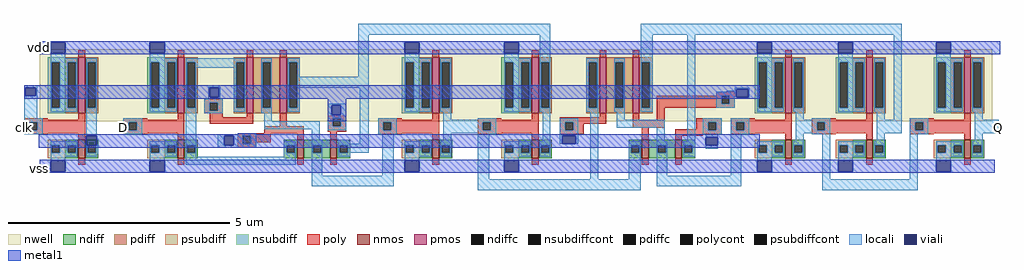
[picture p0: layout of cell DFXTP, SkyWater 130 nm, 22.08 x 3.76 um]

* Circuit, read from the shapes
.subckt DFXTP D clk Q vss vdd
XM1 n1 clk vss vss sky130_fd_pr__nfet_01v8 w=0.42 l=0.15
XM2 n2 D vss vss sky130_fd_pr__nfet_01v8 w=0.42 l=0.15
XM3 n3 n1 n2 vss sky130_fd_pr__nfet_01v8 w=0.42 l=0.15
XM4 n4 clk n3 vss sky130_fd_pr__nfet_01v8 w=0.42 l=0.15
XM5 n5 n3 vss vss sky130_fd_pr__nfet_01v8 w=0.42 l=0.15
XM6 n4 n5 vss vss sky130_fd_pr__nfet_01v8 w=0.42 l=0.15
XM7 n6 clk n5 vss sky130_fd_pr__nfet_01v8 w=0.42 l=0.15
XM8 n7 n1 n6 vss sky130_fd_pr__nfet_01v8 w=0.42 l=0.15
XM9 n8 n6 vss vss sky130_fd_pr__nfet_01v8 w=0.42 l=0.15
XM10 n7 n8 vss vss sky130_fd_pr__nfet_01v8 w=0.42 l=0.15
XM11 Q n8 vss vss sky130_fd_pr__nfet_01v8 w=0.42 l=0.15
XM12 n1 clk vdd vdd sky130_fd_pr__pfet_01v8 w=1.27 l=0.15
XM13 n2 D vdd vdd sky130_fd_pr__pfet_01v8 w=1.27 l=0.15
XM14 n3 clk n2 vdd sky130_fd_pr__pfet_01v8 w=1.27 l=0.15
XM15 n4 n1 n3 vdd sky130_fd_pr__pfet_01v8 w=1.27 l=0.15
XM16 n5 n3 vdd vdd sky130_fd_pr__pfet_01v8 w=1.27 l=0.15
XM17 n4 n5 vdd vdd sky130_fd_pr__pfet_01v8 w=1.27 l=0.15
XM18 n6 n1 n5 vdd sky130_fd_pr__pfet_01v8 w=1.27 l=0.15
XM19 n7 clk n6 vdd sky130_fd_pr__pfet_01v8 w=1.27 l=0.15
XM20 n8 n6 vdd vdd sky130_fd_pr__pfet_01v8 w=1.27 l=0.15
XM21 n7 n8 vdd vdd sky130_fd_pr__pfet_01v8 w=1.27 l=0.15
XM22 Q n8 vdd vdd sky130_fd_pr__pfet_01v8 w=1.27 l=0.15
.ends

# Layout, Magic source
magic
tech sky130A
<< nwell >>
rect -429 102 1725 265
<< nmos >>
rect -342 18 -327 60
rect -117 18 -102 60
rect 153 18 168 60
rect 228 18 243 60
rect 459 18 474 60
rect 684 18 699 60
rect 933 18 948 60
rect 1008 18 1023 60
rect 1257 18 1272 60
rect 1440 18 1455 60
rect 1662 18 1677 60
<< pmos >>
rect -342 120 -327 247
rect -117 120 -102 247
rect 39 120 54 247
rect 114 120 129 247
rect 459 120 474 247
rect 684 120 699 247
rect 837 120 852 247
rect 912 120 927 247
rect 1257 120 1272 247
rect 1440 120 1455 247
rect 1662 120 1677 247
<< ndiff >>
rect -372 48 -342 60
rect -372 30 -366 48
rect -348 30 -342 48
rect -372 18 -342 30
rect -327 48 -297 60
rect -327 30 -321 48
rect -303 30 -297 48
rect -327 18 -297 30
rect -147 48 -117 60
rect -147 30 -141 48
rect -123 30 -117 48
rect -147 18 -117 30
rect -102 48 -72 60
rect -102 30 -96 48
rect -78 30 -72 48
rect 123 48 153 60
rect -102 18 -72 30
rect 123 30 129 48
rect 147 30 153 48
rect 123 18 153 30
rect 168 48 228 60
rect 168 30 189 48
rect 207 30 228 48
rect 168 18 228 30
rect 243 48 273 60
rect 243 30 249 48
rect 267 30 273 48
rect 243 18 273 30
rect 429 48 459 60
rect 429 30 435 48
rect 453 30 459 48
rect 429 18 459 30
rect 474 48 504 60
rect 474 30 480 48
rect 498 30 504 48
rect 474 18 504 30
rect 654 48 684 60
rect 654 30 660 48
rect 678 30 684 48
rect 654 18 684 30
rect 699 48 729 60
rect 699 30 705 48
rect 723 30 729 48
rect 699 18 729 30
rect 903 48 933 60
rect 903 30 909 48
rect 927 30 933 48
rect 903 18 933 30
rect 948 48 1008 60
rect 948 30 969 48
rect 987 30 1008 48
rect 948 18 1008 30
rect 1023 48 1053 60
rect 1023 30 1029 48
rect 1047 30 1053 48
rect 1023 18 1053 30
rect 1227 48 1257 60
rect 1227 30 1233 48
rect 1251 30 1257 48
rect 1227 18 1257 30
rect 1272 48 1302 60
rect 1272 30 1278 48
rect 1296 30 1302 48
rect 1272 18 1302 30
rect 1410 48 1440 60
rect 1410 30 1416 48
rect 1434 30 1440 48
rect 1410 18 1440 30
rect 1455 48 1485 60
rect 1455 30 1461 48
rect 1479 30 1485 48
rect 1455 18 1485 30
rect 1632 48 1662 60
rect 1632 30 1638 48
rect 1656 30 1662 48
rect 1632 18 1662 30
rect 1677 48 1707 60
rect 1677 30 1683 48
rect 1701 30 1707 48
rect 1677 18 1707 30
<< pdiff >>
rect -372 235 -342 247
rect -372 132 -366 235
rect -348 132 -342 235
rect -372 120 -342 132
rect -327 235 -297 247
rect -327 132 -321 235
rect -303 132 -297 235
rect -327 120 -297 132
rect -147 235 -117 247
rect -147 132 -141 235
rect -123 132 -117 235
rect -147 120 -117 132
rect -102 235 -72 247
rect -102 132 -96 235
rect -78 132 -72 235
rect 9 235 39 247
rect -102 120 -72 132
rect 9 132 15 235
rect 33 132 39 235
rect 9 120 39 132
rect 54 235 114 247
rect 54 132 75 235
rect 93 132 114 235
rect 54 120 114 132
rect 129 235 159 247
rect 129 132 135 235
rect 153 132 159 235
rect 129 120 159 132
rect 429 235 459 247
rect 429 132 435 235
rect 453 132 459 235
rect 429 120 459 132
rect 474 235 504 247
rect 474 132 480 235
rect 498 132 504 235
rect 474 120 504 132
rect 654 235 684 247
rect 654 132 660 235
rect 678 132 684 235
rect 654 120 684 132
rect 699 235 729 247
rect 699 132 705 235
rect 723 132 729 235
rect 699 120 729 132
rect 807 235 837 247
rect 807 132 813 235
rect 831 132 837 235
rect 807 120 837 132
rect 852 235 912 247
rect 852 132 873 235
rect 891 132 912 235
rect 852 120 912 132
rect 927 235 957 247
rect 927 132 933 235
rect 951 132 957 235
rect 1227 235 1257 247
rect 927 120 957 132
rect 1227 132 1233 235
rect 1251 132 1257 235
rect 1227 120 1257 132
rect 1272 235 1302 247
rect 1272 132 1278 235
rect 1296 132 1302 235
rect 1272 120 1302 132
rect 1410 235 1440 247
rect 1410 132 1416 235
rect 1434 132 1440 235
rect 1410 120 1440 132
rect 1455 235 1485 247
rect 1455 132 1461 235
rect 1479 132 1485 235
rect 1455 120 1485 132
rect 1632 235 1662 247
rect 1632 132 1638 235
rect 1656 132 1662 235
rect 1632 120 1662 132
rect 1677 235 1707 247
rect 1677 132 1683 235
rect 1701 132 1707 235
rect 1677 120 1707 132
<< ndiffc >>
rect -366 30 -348 48
rect -321 30 -303 48
rect -141 30 -123 48
rect -96 30 -78 48
rect 129 30 147 48
rect 189 30 207 48
rect 249 30 267 48
rect 435 30 453 48
rect 480 30 498 48
rect 660 30 678 48
rect 705 30 723 48
rect 909 30 927 48
rect 969 30 987 48
rect 1029 30 1047 48
rect 1233 30 1251 48
rect 1278 30 1296 48
rect 1416 30 1434 48
rect 1461 30 1479 48
rect 1638 30 1656 48
rect 1683 30 1701 48
<< pdiffc >>
rect -366 132 -348 235
rect -321 132 -303 235
rect -141 132 -123 235
rect -96 132 -78 235
rect 15 132 33 235
rect 75 132 93 235
rect 135 132 153 235
rect 435 132 453 235
rect 480 132 498 235
rect 660 132 678 235
rect 705 132 723 235
rect 813 132 831 235
rect 873 132 891 235
rect 933 132 951 235
rect 1233 132 1251 235
rect 1278 132 1296 235
rect 1416 132 1434 235
rect 1461 132 1479 235
rect 1638 132 1656 235
rect 1683 132 1701 235
<< psubdiff >>
rect -411 48 -372 60
rect -411 30 -402 48
rect -384 30 -372 48
rect -411 18 -372 30
rect -186 48 -147 60
rect -186 30 -177 48
rect -159 30 -147 48
rect -186 18 -147 30
rect 390 48 429 60
rect 390 30 399 48
rect 417 30 429 48
rect 390 18 429 30
rect 615 48 654 60
rect 615 30 624 48
rect 642 30 654 48
rect 615 18 654 30
rect 1188 48 1227 60
rect 1188 30 1197 48
rect 1215 30 1227 48
rect 1188 18 1227 30
rect 1371 48 1410 60
rect 1371 30 1380 48
rect 1398 30 1410 48
rect 1371 18 1410 30
rect 1593 48 1632 60
rect 1593 30 1602 48
rect 1620 30 1632 48
rect 1593 18 1632 30
<< nsubdiff >>
rect -411 235 -372 247
rect -411 132 -402 235
rect -384 132 -372 235
rect -411 120 -372 132
rect -186 235 -147 247
rect -186 132 -177 235
rect -159 132 -147 235
rect -186 120 -147 132
rect 390 235 429 247
rect 390 132 399 235
rect 417 132 429 235
rect 390 120 429 132
rect 615 235 654 247
rect 615 132 624 235
rect 642 132 654 235
rect 615 120 654 132
rect 1188 235 1227 247
rect 1188 132 1197 235
rect 1215 132 1227 235
rect 1188 120 1227 132
rect 1371 235 1410 247
rect 1371 132 1380 235
rect 1398 132 1410 235
rect 1371 120 1410 132
rect 1593 235 1632 247
rect 1593 132 1602 235
rect 1620 132 1632 235
rect 1593 120 1632 132
<< psubdiffcont >>
rect -402 30 -384 48
rect -177 30 -159 48
rect 399 30 417 48
rect 624 30 642 48
rect 1197 30 1215 48
rect 1380 30 1398 48
rect 1602 30 1620 48
<< nsubdiffcont >>
rect -402 132 -384 235
rect -177 132 -159 235
rect 399 132 417 235
rect 624 132 642 235
rect 1197 132 1215 235
rect 1380 132 1398 235
rect 1602 132 1620 235
<< poly >>
rect -342 247 -327 262
rect -117 247 -102 262
rect 39 247 54 262
rect 114 247 129 262
rect 459 247 474 262
rect 684 247 699 262
rect 837 247 852 262
rect 912 247 927 262
rect 1257 247 1272 262
rect 1440 247 1455 262
rect 1662 247 1677 262
rect -57 144 -15 153
rect -57 126 -45 144
rect -27 126 -15 144
rect -57 120 -15 126
rect 1101 159 1143 168
rect 966 141 1113 159
rect 1131 141 1143 159
rect 966 132 1143 141
rect -465 105 -411 108
rect -342 105 -327 120
rect -465 99 -327 105
rect -465 81 -453 99
rect -435 81 -327 99
rect -465 75 -327 81
rect -465 72 -411 75
rect -342 60 -327 75
rect -240 105 -186 108
rect -117 105 -102 120
rect -240 99 -102 105
rect -240 81 -228 99
rect -210 81 -102 99
rect -45 111 -15 120
rect 39 111 54 120
rect -45 96 54 111
rect 114 90 129 120
rect 222 108 264 114
rect 222 90 234 108
rect 252 90 264 108
rect -240 75 -102 81
rect 78 75 168 90
rect 222 78 264 90
rect 336 105 390 108
rect 459 105 474 120
rect 336 99 474 105
rect 336 81 348 99
rect 366 81 474 99
rect -240 72 -186 75
rect -117 60 -102 75
rect 18 69 93 75
rect 18 51 30 69
rect 48 54 93 69
rect 153 60 168 75
rect 228 60 243 78
rect 336 75 474 81
rect 336 72 390 75
rect 459 60 474 75
rect 561 105 615 108
rect 684 105 699 120
rect 837 111 852 120
rect 561 99 699 105
rect 561 81 573 99
rect 591 81 699 99
rect 561 75 699 81
rect 561 72 615 75
rect 684 60 699 75
rect 747 99 852 111
rect 747 81 759 99
rect 777 96 852 99
rect 912 105 927 120
rect 966 105 984 132
rect 777 81 801 96
rect 912 87 984 105
rect 1056 99 1113 108
rect 747 72 801 81
rect 933 60 948 87
rect 1056 84 1083 99
rect 1008 81 1083 84
rect 1101 81 1113 99
rect 1008 72 1113 81
rect 1134 105 1188 108
rect 1257 105 1272 120
rect 1134 99 1272 105
rect 1134 81 1146 99
rect 1164 81 1272 99
rect 1134 75 1272 81
rect 1134 72 1188 75
rect 1008 69 1071 72
rect 1008 60 1023 69
rect 1257 60 1272 75
rect 1317 105 1371 108
rect 1440 105 1455 120
rect 1317 99 1455 105
rect 1317 81 1329 99
rect 1347 81 1455 99
rect 1317 75 1455 81
rect 1317 72 1371 75
rect 1440 60 1455 75
rect 1539 105 1593 108
rect 1662 105 1677 120
rect 1539 99 1677 105
rect 1539 81 1551 99
rect 1569 81 1677 99
rect 1539 75 1677 81
rect 1539 72 1593 75
rect 1662 60 1677 75
rect 48 51 60 54
rect 18 42 60 51
rect -342 3 -327 18
rect -117 3 -102 18
rect 153 3 168 18
rect 228 3 243 18
rect 459 3 474 18
rect 684 3 699 18
rect 933 3 948 18
rect 1008 3 1023 18
rect 1257 3 1272 18
rect 1440 3 1455 18
rect 1662 3 1677 18
<< polycont >>
rect -45 126 -27 144
rect 1113 141 1131 159
rect -453 81 -435 99
rect -228 81 -210 99
rect 234 90 252 108
rect 348 81 366 99
rect 30 51 48 69
rect 573 81 591 99
rect 759 81 777 99
rect 1083 81 1101 99
rect 1146 81 1164 99
rect 1329 81 1347 99
rect 1551 81 1569 99
<< locali >>
rect 291 298 726 322
rect -405 244 -372 256
rect -180 244 -147 256
rect -405 235 -345 244
rect -465 177 -435 183
rect -465 159 -462 177
rect -438 159 -435 177
rect -465 108 -435 159
rect -405 132 -402 235
rect -384 132 -366 235
rect -348 132 -345 235
rect -405 123 -345 132
rect -324 235 -300 244
rect -324 132 -321 235
rect -303 132 -300 235
rect -465 99 -423 108
rect -465 81 -453 99
rect -435 81 -423 99
rect -465 72 -423 81
rect -324 69 -300 132
rect -180 235 -120 244
rect -180 132 -177 235
rect -159 132 -141 235
rect -123 132 -120 235
rect -180 123 -120 132
rect -99 235 36 244
rect -99 132 -96 235
rect -78 223 15 235
rect -78 132 -75 223
rect -48 177 -21 180
rect -48 156 -45 177
rect -24 156 -21 177
rect -48 153 -21 156
rect -240 99 -198 108
rect -240 81 -228 99
rect -210 81 -198 99
rect -240 72 -198 81
rect -405 48 -345 57
rect -405 30 -402 48
rect -384 30 -366 48
rect -348 30 -345 48
rect -405 21 -345 30
rect -180 48 -120 57
rect -324 30 -321 48
rect -303 30 -297 48
rect -324 27 -297 30
rect -180 30 -177 48
rect -159 30 -141 48
rect -123 30 -120 48
rect -324 21 -300 27
rect -180 21 -120 30
rect -99 48 -75 132
rect -57 144 -15 153
rect -57 126 -45 144
rect -27 126 -15 144
rect -57 120 -15 126
rect 9 132 15 223
rect 33 132 36 235
rect 9 123 36 132
rect 72 235 96 244
rect 72 132 75 235
rect 93 132 96 235
rect 72 120 96 132
rect 132 235 159 244
rect 132 132 135 235
rect 153 202 159 235
rect 291 202 315 298
rect 153 177 315 202
rect 153 132 159 177
rect 132 123 159 132
rect 222 138 264 141
rect 78 102 96 120
rect 222 117 231 138
rect 252 117 264 138
rect 222 108 264 117
rect 78 84 204 102
rect 18 72 60 75
rect -99 30 -96 48
rect -78 30 -75 48
rect -27 69 60 72
rect -27 48 -12 69
rect 9 51 30 69
rect 48 51 60 69
rect 186 60 204 84
rect 222 90 234 108
rect 252 90 264 108
rect 222 81 264 90
rect 9 48 60 51
rect -27 42 60 48
rect 123 48 150 57
rect -99 21 -75 30
rect 123 30 129 48
rect 147 30 150 48
rect 123 21 150 30
rect -405 12 -372 21
rect -180 12 -147 21
rect -99 3 150 21
rect 186 48 210 60
rect 186 30 189 48
rect 207 30 210 48
rect 186 -21 210 30
rect 246 57 270 60
rect 246 51 273 57
rect 294 51 315 177
rect 396 244 429 256
rect 621 244 654 256
rect 396 235 456 244
rect 396 132 399 235
rect 417 132 435 235
rect 453 132 456 235
rect 396 123 456 132
rect 477 235 501 244
rect 477 132 480 235
rect 498 132 501 235
rect 477 123 501 132
rect 621 235 681 244
rect 621 132 624 235
rect 642 132 660 235
rect 678 132 681 235
rect 621 123 681 132
rect 702 235 726 298
rect 930 298 1521 322
rect 702 132 705 235
rect 723 132 726 235
rect 702 123 726 132
rect 807 235 834 244
rect 807 132 813 235
rect 831 132 834 235
rect 807 123 834 132
rect 870 235 894 244
rect 870 132 873 235
rect 891 132 894 235
rect 870 123 894 132
rect 930 235 957 298
rect 930 132 933 235
rect 951 132 957 235
rect 930 123 957 132
rect 336 99 378 108
rect 336 81 348 99
rect 366 81 378 99
rect 336 72 378 81
rect 483 105 501 123
rect 561 105 603 108
rect 483 99 603 105
rect 483 81 573 99
rect 591 81 603 99
rect 483 75 603 81
rect 246 48 315 51
rect 246 30 249 48
rect 267 30 315 48
rect 246 21 273 30
rect 345 -21 372 72
rect 483 57 501 75
rect 396 48 456 57
rect 396 30 399 48
rect 417 30 435 48
rect 453 30 456 48
rect 396 21 456 30
rect 477 48 501 57
rect 477 30 480 48
rect 498 30 501 48
rect 477 21 501 30
rect 561 72 603 75
rect 396 12 429 21
rect 186 -45 372 -21
rect 561 -30 588 72
rect 708 57 726 123
rect 621 48 681 57
rect 621 30 624 48
rect 642 30 660 48
rect 678 30 681 48
rect 621 21 681 30
rect 702 48 726 57
rect 747 99 789 108
rect 747 81 759 99
rect 777 81 789 99
rect 747 69 789 81
rect 747 51 753 69
rect 783 51 789 69
rect 702 30 705 48
rect 723 30 726 48
rect 702 21 726 30
rect 621 12 654 21
rect 816 -30 834 123
rect 876 105 894 123
rect 876 87 984 105
rect 966 57 984 87
rect 1035 57 1053 298
rect 1194 244 1227 256
rect 1377 244 1410 256
rect 1194 235 1254 244
rect 1143 174 1176 177
rect 1143 171 1146 174
rect 1125 168 1146 171
rect 1101 159 1146 168
rect 1101 141 1113 159
rect 1131 156 1146 159
rect 1173 156 1176 174
rect 1131 153 1176 156
rect 1131 141 1143 153
rect 1101 132 1143 141
rect 1194 132 1197 235
rect 1215 132 1233 235
rect 1251 132 1254 235
rect 1194 123 1254 132
rect 1275 235 1299 244
rect 1275 132 1278 235
rect 1296 132 1299 235
rect 1275 123 1299 132
rect 1377 235 1437 244
rect 1377 132 1380 235
rect 1398 132 1416 235
rect 1434 132 1437 235
rect 1377 123 1437 132
rect 1458 235 1482 244
rect 1458 132 1461 235
rect 1479 132 1482 235
rect 1458 123 1482 132
rect 1071 99 1113 108
rect 1071 81 1083 99
rect 1101 81 1113 99
rect 1071 72 1113 81
rect 1134 99 1176 108
rect 1134 81 1146 99
rect 1164 81 1176 99
rect 1134 72 1176 81
rect 1281 105 1299 123
rect 1317 105 1359 108
rect 1281 99 1359 105
rect 1281 81 1329 99
rect 1347 81 1359 99
rect 1281 75 1359 81
rect 903 48 930 57
rect 903 30 909 48
rect 927 30 930 48
rect 903 -30 930 30
rect 561 -54 930 -30
rect 966 48 990 57
rect 966 30 969 48
rect 987 30 990 48
rect 966 -21 990 30
rect 1026 48 1053 57
rect 1026 30 1029 48
rect 1047 30 1053 48
rect 1077 66 1104 72
rect 1077 39 1104 48
rect 1026 21 1053 30
rect 1134 -21 1158 72
rect 1281 57 1299 75
rect 1317 72 1359 75
rect 1194 48 1254 57
rect 1194 30 1197 48
rect 1215 30 1233 48
rect 1251 30 1254 48
rect 1194 21 1254 30
rect 1275 48 1299 57
rect 1275 30 1278 48
rect 1296 30 1299 48
rect 1275 21 1299 30
rect 1194 12 1227 21
rect 966 -45 1158 -21
rect 1341 -30 1359 72
rect 1464 105 1482 123
rect 1503 105 1521 298
rect 1599 244 1632 256
rect 1599 235 1659 244
rect 1599 132 1602 235
rect 1620 132 1638 235
rect 1656 132 1659 235
rect 1599 123 1659 132
rect 1680 235 1704 244
rect 1680 132 1683 235
rect 1701 132 1704 235
rect 1680 123 1704 132
rect 1464 75 1521 105
rect 1539 99 1581 108
rect 1539 81 1551 99
rect 1569 81 1581 99
rect 1464 57 1482 75
rect 1377 48 1437 57
rect 1377 30 1380 48
rect 1398 30 1416 48
rect 1434 30 1437 48
rect 1377 21 1437 30
rect 1458 48 1482 57
rect 1458 30 1461 48
rect 1479 30 1482 48
rect 1458 21 1482 30
rect 1539 72 1581 81
rect 1686 105 1704 123
rect 1686 75 1740 105
rect 1377 12 1410 21
rect 1539 -30 1557 72
rect 1686 57 1704 75
rect 1599 48 1659 57
rect 1599 30 1602 48
rect 1620 30 1638 48
rect 1656 30 1659 48
rect 1599 21 1659 30
rect 1680 48 1704 57
rect 1680 30 1683 48
rect 1701 30 1704 48
rect 1680 21 1704 30
rect 1599 12 1632 21
rect 1341 -54 1557 -30
<< viali >>
rect -405 256 -372 280
rect -180 256 -147 280
rect -462 159 -438 177
rect -45 156 -24 177
rect -324 48 -300 69
rect 231 117 252 138
rect -12 48 9 69
rect -405 -12 -372 12
rect -180 -12 -147 12
rect 396 256 429 280
rect 621 256 654 280
rect 396 -12 429 12
rect 753 51 783 69
rect 621 -12 654 12
rect 1194 256 1227 280
rect 1377 256 1410 280
rect 1146 156 1173 174
rect 1077 48 1104 66
rect 1194 -12 1227 12
rect 1599 256 1632 280
rect 1377 -12 1410 12
rect 1599 -12 1632 12
<< metal1 >>
rect -429 280 1743 283
rect -429 256 -405 280
rect -372 256 -180 280
rect -147 256 396 280
rect 429 256 621 280
rect 654 256 1194 280
rect 1227 256 1377 280
rect 1410 256 1599 280
rect 1632 256 1743 280
rect -429 253 1743 256
rect -465 177 1200 183
rect -465 159 -462 177
rect -438 159 -45 177
rect -465 156 -45 159
rect -24 174 1200 177
rect -24 156 1146 174
rect 1173 156 1200 174
rect -465 153 1200 156
rect 222 138 264 153
rect 222 117 231 138
rect 252 117 264 138
rect 222 102 264 117
rect 18 72 60 75
rect -432 69 1200 72
rect -432 48 -324 69
rect -300 48 -12 69
rect 9 51 753 69
rect 783 66 1200 69
rect 783 51 1077 66
rect 9 48 1077 51
rect 1104 48 1200 66
rect -432 42 1200 48
rect -429 12 1731 15
rect -429 -12 -405 12
rect -372 -12 -180 12
rect -147 -12 396 12
rect 429 -12 621 12
rect 654 -12 1194 12
rect 1227 -12 1377 12
rect 1410 -12 1599 12
rect 1632 -12 1731 12
rect -429 -15 1731 -12
<< labels >>
rlabel locali -240 87 -240 87 1 D
port 1 n
rlabel locali -465 87 -465 87 3 clk
port 2 e
rlabel metal1 -429 -6 -429 -6 1 vss
port 4 n
rlabel metal1 -429 268 -429 268 1 vdd
port 5 n
rlabel locali 1740 87 1740 87 7 Q
port 3 w
<< end >>
